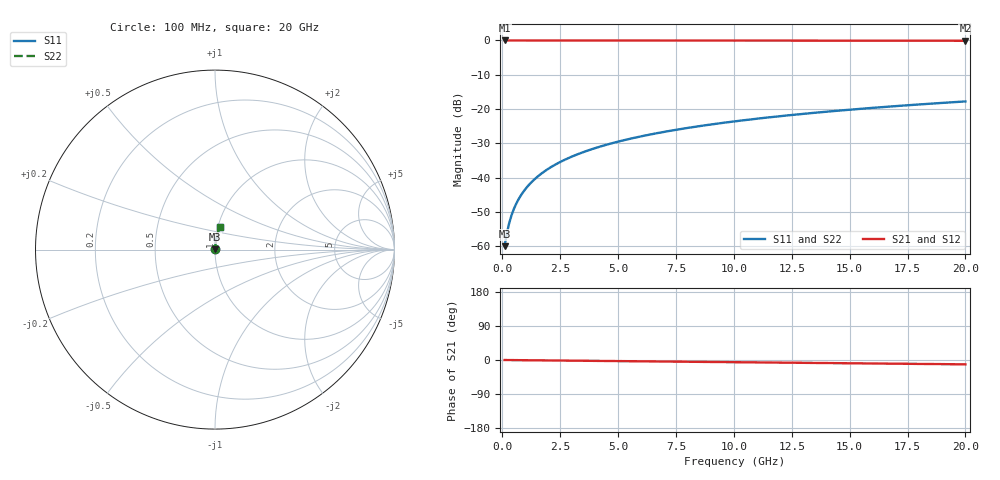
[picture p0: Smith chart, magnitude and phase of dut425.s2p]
! Touchstone file exported from HFSS 2026.1.0
!  File:  C:/ffzhzh/LocalFiles/Ansys_Project_Files/temp_train_TSV_425_1783020979_55676.aedt
!  Generated:  03:38:50 AM Jul  3, 2026
!  Design:  TSV
!  Project:  temp_train_TSV_425_1783020979_55676
! Variables:
!  h_bsmrdl = 2um
!  h_ox = 20um
!  h_rdl = 5um
!  h_sub = 81.91um
!  h_tmrdl = 5um
!  h_tsv = 81.91um
!  h_via = 3um
!  l_bsmrdl = 300um
!  l_sub = 407.32um
!  l_tmrdl = 200um
!  m_sub = 200um
!  pitch = 54.22um
!  r_tsv = 3.66um
!  s_tmrdl = 10um
!  w_bsmrdl = 18um
!  w_sub = 500um
!  w_tmrdl = 12um
!  x_tsv_center1 = 206um
!  x_tsv_center2 = 524um
!  x_tsv_center3 = 736um
!  x_tsv_center4 = 1054um
!  x_tsv_center5 = 1266um
!  x_tsv_center6 = 1584um
# GHz S MA R 50.000000
! Terminal data exported
! Port[1] = TSV1_1_T1
! Port[2] = TSV1_1_T2
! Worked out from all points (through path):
!   200 points, 100 MHz to 20 GHz, reference 50 ohm
!   highest |S21| = -0.01 dB at 100 MHz (marker M1); lowest = -0.1 dB at 20 GHz (marker M2)
!   group delay of S21, straight-line fit = 1.59 ps
!   lowest |S11| = -60.0 dB at 100 MHz (marker M3), VSWR 1.00, Z = 50.1 + j0.0689 ohm
!   |S11| at or under -10 dB: start of sweep to end of sweep
!   |S22| runs from -60.0 to -17.8 dB; largest |S21 - S12| = 2.7e-15
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0.1  0.001 43.5  0.9993 -0.1  0.9993 -0.1  0.001 43.5
! Gamma 0 0 0 0
! Port Impedance 50 0 50 0
0.2  0.001557 61.8  0.9993 -0.1  0.9993 -0.1  0.001557 61.8
0.3  0.002184 69.9  0.9993 -0.2  0.9993 -0.2  0.002184 69.9
0.4  0.002833 74.3  0.9992 -0.2  0.9992 -0.2  0.002833 74.3
0.5  0.00349 77.1  0.9992 -0.3  0.9992 -0.3  0.00349 77.1
0.6  0.004152 79.0  0.9992 -0.4  0.9992 -0.4  0.004152 79.0
0.8  0.005484 81.3  0.9992 -0.5  0.9992 -0.5  0.005484 81.3
1.1  0.007492 83.2  0.9992 -0.6  0.9992 -0.6  0.007492 83.2
1.5  0.01018 84.4  0.9991 -0.9  0.9991 -0.9  0.01018 84.4
1.8  0.01219 84.9  0.999 -1.1  0.999 -1.1  0.01219 84.9
2.1  0.0142 85.1  0.999 -1.2  0.999 -1.2  0.0142 85.1
2.7  0.01821 85.3  0.9988 -1.6  0.9988 -1.6  0.01821 85.3
3.5  0.02354 85.3  0.9986 -2.1  0.9986 -2.1  0.02354 85.3
4.2  0.02817 85.1  0.9984 -2.5  0.9984 -2.5  0.02817 85.1
5  0.03344 84.8  0.9981 -2.9  0.9981 -2.9  0.03344 84.8
5.9  0.03933 84.4  0.9978 -3.4  0.9978 -3.4  0.03933 84.4
6.8  0.0452 84.0  0.9974 -4.0  0.9974 -4.0  0.0452 84.0
8.3  0.05491 83.3  0.9967 -4.8  0.9967 -4.8  0.05491 83.3
10.1  0.0665 82.4  0.9958 -5.8  0.9958 -5.8  0.0665 82.4
13.4  0.08758 80.8  0.9938 -7.7  0.9938 -7.7  0.08758 80.7
16.7  0.1084 79.0  0.9915 -9.6  0.9915 -9.6  0.1084 79.0
20  0.129 77.3  0.9888 -11.4  0.9888 -11.4  0.129 77.3
